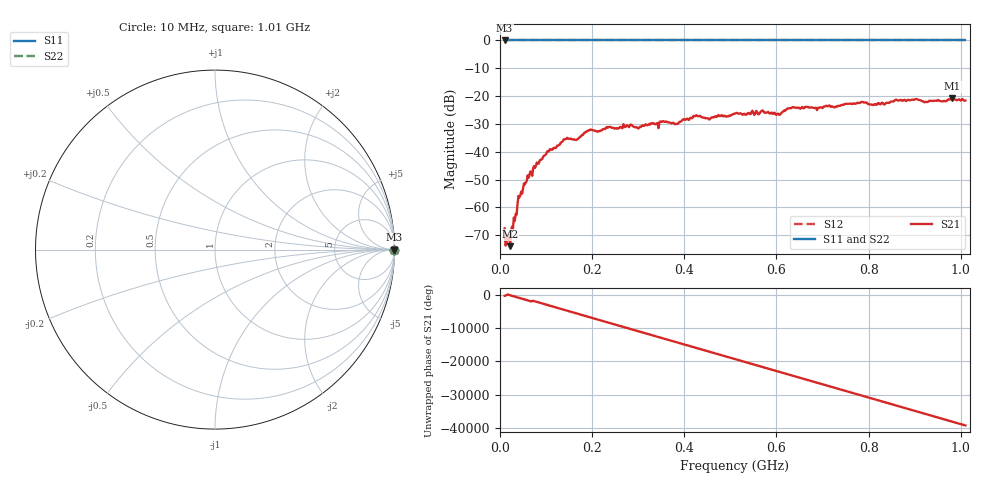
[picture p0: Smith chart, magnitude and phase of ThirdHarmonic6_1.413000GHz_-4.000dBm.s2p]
! 8/16/2025 4:12:23 PM
! C:\ANRITSUVNA\TEMP\TEMP.S2P
! CHANNEL.1
! TR.MEASUREMENT
! RAW.DATA
! RF.CORRECTION.OFF
! AVERAGING.OFF
! IF.BANDWIDTH: 5KHZ
! SWEEPTYPE:  FREQ.SWEEP(Linear)
! Reference Plane Port Info
! PORT:  PORT1  PORT2
! DISTANCE:  0  m  0  m
! TIME:  0  s  0  s
! PHASE.OFFSET:  0  deg.  0  deg.
! LOSS:  0  dB  0  dB
! REF.LOSS:  0  dB  0  dB
! REF.FREQ:  0  Hz  0  Hz
! Power Info
! POWER:  -20  dBm  -20  dBm
! EFF.POWER:  -20  dBm  -20  dBm
! SOURCE.ATTEN:  0  dB  0  dB
! TEST.ATTEN:  0  dB  0  dB
# GHZ S RI R 50.0
! FREQ.GHZ  S11RE  S11IM  S21RE  S21IM  S12RE  S12IM  S22RE  S22IM
!; PortSelection: Port_12
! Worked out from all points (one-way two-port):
!   501 points, 10 MHz to 1.01 GHz, reference 50 ohm
!   highest |S21| = -20.84 dB at 982 MHz (marker M1); lowest = -73.9 dB at 22 MHz (marker M2)
!   lowest |S11| = 0.0 dB at 10 MHz (marker M3)
!   |S11| at or under -10 dB: nowhere
!   |S22| runs from 0.0 to 0.0 dB; largest |S21 - S12| = 1.1
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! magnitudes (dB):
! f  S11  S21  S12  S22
! 10 MHz  0.0  -67.5  0.0  0.0
! 18 MHz  0.0  -71.5  0.0  0.0
! 22 MHz  0.0  -73.9  0.0  0.0
! 32 MHz  0.0  -64.9  0.0  0.0
! 42 MHz  0.0  -56.4  0.0  0.0
! 76 MHz  0.0  -45.8  0.0  0.0
! 106 MHz  0.0  -39.9  0.0  0.0
! 142 MHz  0.0  -35.5  0.0  0.0
! 166 MHz  0.0  -35.7  0.0  0.0
! 178 MHz  0.0  -34.0  0.0  0.0
! 234 MHz  0.0  -31.3  0.0  0.0
! 344 MHz  0.0  -31.5  0.0  0.0
! 382 MHz  0.0  -29.9  0.0  0.0
! 424 MHz  0.0  -27.2  0.0  0.0
! 452 MHz  0.0  -28.0  0.0  0.0
! 510 MHz  0.0  -26.2  0.0  0.0
! 604 MHz  0.0  -26.3  0.0  0.0
! 632 MHz  0.0  -24.3  0.0  0.0
! 678 MHz  0.0  -24.1  0.0  0.0
! 844 MHz  0.0  -22.5  0.0  0.0
! 982 MHz  0.0  -20.8  0.0  0.0
! 1.01 GHz  0.0  -21.6  0.0  0.0
